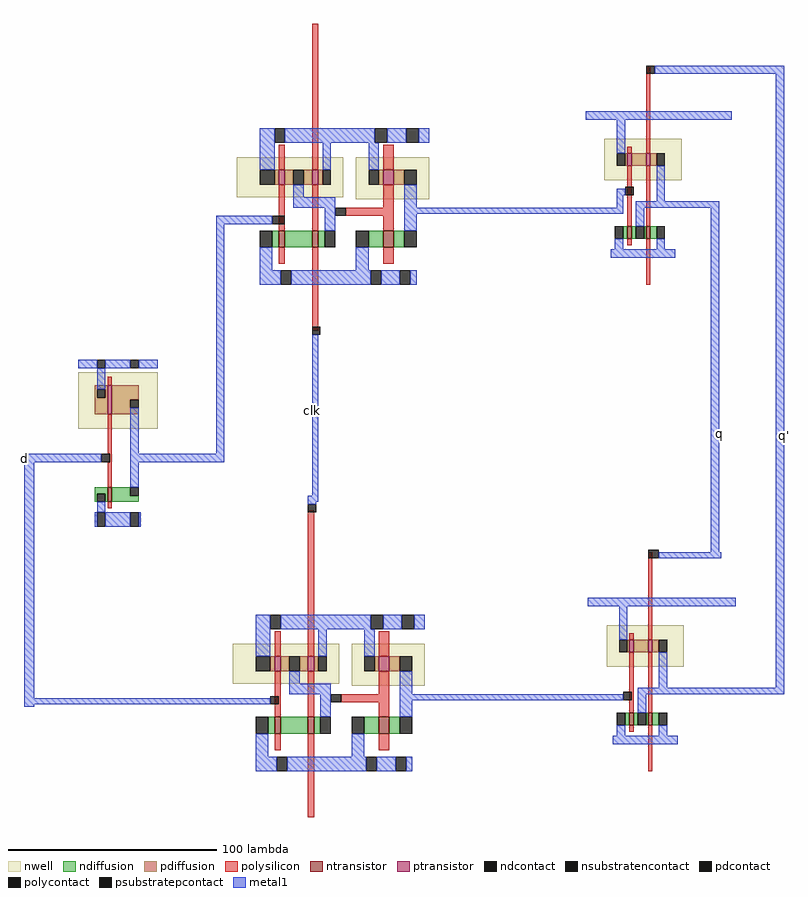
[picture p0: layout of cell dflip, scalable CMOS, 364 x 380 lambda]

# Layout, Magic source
magic
tech scmos
<< polycontact >>
rect 278 217 282 221
rect 268 159 272 163
rect 99 145 105 149
rect 118 92 122 96
rect 116 7 120 11
rect 279 -15 284 -11
rect 98 -85 102 -81
rect 267 -83 271 -79
<< metal1 >>
rect 282 217 344 221
rect 264 159 268 162
rect 264 153 267 159
rect 298 153 313 156
rect 168 150 267 153
rect 72 145 99 149
rect 72 35 76 145
rect -20 32 5 35
rect -20 31 6 32
rect 41 31 76 35
rect -20 -82 -15 31
rect 118 15 121 92
rect 116 12 121 15
rect 116 11 120 12
rect 309 -12 313 153
rect 284 -15 314 -12
rect 320 -38 321 -34
rect 340 -77 344 217
rect -20 -85 98 -82
rect 164 -83 267 -80
rect 299 -80 344 -77
rect -20 -86 -15 -85
use inverter  inverter_0
transform 1 0 31 0 1 37
box -31 -37 13 43
use nor2gate  nor2gate_0
transform 1 0 270 0 1 160
box -21 -44 49 61
use nor2gate  nor2gate_1
transform 1 0 271 0 1 -73
box -21 -44 49 61
use andgate  andgate_1
transform 1 0 104 0 1 145
box -22 -51 70 96
use andgate  andgate_0
transform 1 0 102 0 1 -88
box -22 -51 70 96
<< labels >>
rlabel metal1 -20 31 -20 35 3 d
rlabel metal1 313 43 313 47 1 q
rlabel metal1 344 42 344 46 7 q'
rlabel metal1 118 52 118 60 1 clk
<< end >>

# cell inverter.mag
magic
tech scmos
<< nwell >>
rect -25 10 13 37
<< ntransistor >>
rect -11 -25 -9 -18
<< ptransistor >>
rect -11 17 -9 31
<< ndiffusion >>
rect -17 -21 -11 -18
rect -17 -25 -16 -21
rect -12 -25 -11 -21
rect -9 -22 0 -18
rect -9 -25 4 -22
<< pdiffusion >>
rect -17 29 -11 31
rect -17 25 -16 29
rect -12 25 -11 29
rect -17 17 -11 25
rect -9 24 4 31
rect -9 20 0 24
rect -9 17 4 20
<< ndcontact >>
rect -16 -25 -12 -21
rect 0 -22 4 -18
<< pdcontact >>
rect -16 25 -12 29
rect 0 20 4 24
<< psubstratepcontact >>
rect -16 -37 -12 -30
rect 0 -37 4 -30
<< nsubstratencontact >>
rect -16 39 -12 43
rect 0 39 4 43
<< polysilicon >>
rect -11 31 -9 35
rect -11 -2 -9 17
rect -10 -6 -9 -2
rect -11 -18 -9 -6
rect -11 -28 -9 -25
<< polycontact >>
rect -14 -6 -10 -2
<< metal1 >>
rect -25 39 -16 43
rect -12 39 0 43
rect 4 39 13 43
rect -16 29 -12 39
rect 0 -2 4 20
rect -31 -6 -14 -2
rect 0 -6 12 -2
rect 0 -18 4 -6
rect -16 -30 -12 -25
rect -17 -37 -16 -30
rect -12 -37 0 -30
rect 4 -37 5 -30
<< labels >>
rlabel metal1 -6 -34 -6 -34 1 gnd
rlabel metal1 -6 41 -6 41 5 vdd
<< end >>

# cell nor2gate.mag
magic
tech scmos
<< nwell >>
rect -12 6 25 26
<< ntransistor >>
rect -1 -22 1 -16
rect 8 -22 10 -16
<< ptransistor >>
rect -1 13 1 19
rect 8 13 10 19
<< ndiffusion >>
rect -3 -22 -1 -16
rect 1 -22 3 -16
rect 7 -22 8 -16
rect 10 -22 13 -16
<< pdiffusion >>
rect -2 13 -1 19
rect 1 13 8 19
rect 10 13 13 19
<< ndcontact >>
rect -7 -22 -3 -16
rect 3 -22 7 -16
rect 13 -22 17 -16
<< pdcontact >>
rect -6 13 -2 19
rect 13 13 17 19
<< polysilicon >>
rect -1 19 1 22
rect 8 19 10 61
rect -1 -16 1 13
rect 8 -16 10 13
rect -1 -25 1 -22
rect 8 -44 10 -22
<< metal1 >>
rect -21 35 49 39
rect -6 19 -2 35
rect 13 -4 17 13
rect 3 -7 28 -4
rect 3 -16 7 -7
rect -7 -27 -3 -22
rect 13 -27 17 -22
rect -9 -31 22 -27
<< labels >>
rlabel metal1 5 -29 5 -29 1 gnd
rlabel metal1 2 37 2 37 1 vdd
<< end >>

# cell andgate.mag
magic
tech scmos
<< nwell >>
rect -22 13 29 32
rect 35 12 70 32
<< ntransistor >>
rect -2 -11 1 -3
rect 14 -11 17 -3
rect 48 -11 53 -3
<< ptransistor >>
rect -2 19 1 26
rect 14 19 17 26
rect 48 19 53 26
<< ndiffusion >>
rect -5 -11 -2 -3
rect 1 -11 14 -3
rect 17 -11 20 -3
rect 41 -11 48 -3
rect 53 -11 58 -3
<< pdiffusion >>
rect -4 19 -2 26
rect 1 19 5 26
rect 10 19 14 26
rect 17 19 19 26
rect 46 19 48 26
rect 53 19 58 26
<< ndcontact >>
rect -11 -11 -5 -3
rect 20 -11 25 -3
rect 35 -11 41 -3
rect 58 -11 64 -3
<< pdcontact >>
rect -11 19 -4 26
rect 5 19 10 26
rect 19 19 23 26
rect 41 19 46 26
rect 58 19 64 26
<< psubstratepcontact >>
rect -1 -29 4 -22
rect 42 -29 47 -22
rect 56 -29 61 -22
<< nsubstratencontact >>
rect -4 39 1 46
rect 44 39 50 46
rect 59 39 65 46
<< polysilicon >>
rect -2 26 1 38
rect 14 26 17 96
rect 48 26 53 38
rect -2 -3 1 19
rect 14 -3 17 19
rect 48 8 53 19
rect 30 4 53 8
rect 48 -3 53 4
rect -2 -19 1 -11
rect 14 -51 17 -11
rect 48 -19 53 -11
<< polycontact >>
rect 25 4 30 8
<< metal1 >>
rect -11 26 -4 46
rect 1 39 44 46
rect 50 39 59 46
rect 65 39 70 46
rect 19 26 23 39
rect 41 26 46 39
rect 5 13 10 19
rect 5 8 25 13
rect 20 -3 25 8
rect 58 -3 64 19
rect -11 -22 -5 -11
rect 35 -22 41 -11
rect -11 -29 -1 -22
rect 4 -29 42 -22
rect 47 -29 56 -22
rect 61 -29 64 -22
<< labels >>
rlabel metal1 24 41 24 41 5 vdd
rlabel metal1 23 -26 23 -26 1 gnd
<< end >>
